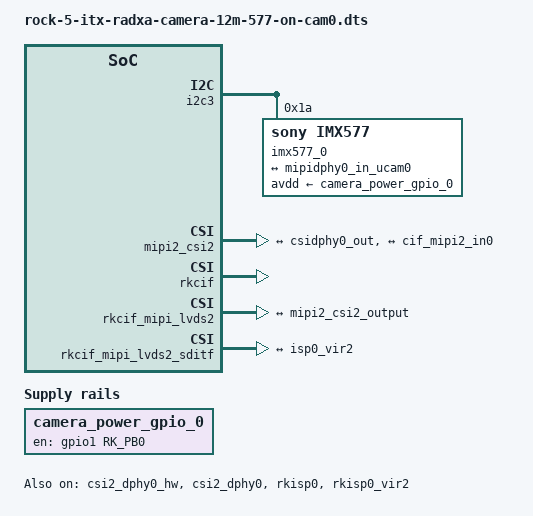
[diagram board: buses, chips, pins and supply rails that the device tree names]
/dts-v1/;
/plugin/;

#include <dt-bindings/power/rk3588-power.h>
#include <dt-bindings/gpio/gpio.h>
#include <dt-bindings/pinctrl/rockchip.h>

/ {
	metadata {
		title = "Enable Radxa Camera 12M 577 on CAM0";
		compatible = "radxa,rock-5-itx";
		category = "camera";
		exclusive = "GPIO1_B0", "csi2_dphy0", "i2c3";
		description = "Enable Radxa Camera 12M 577 on CAM0.";
	};
};

&{/} {
	camera_power_gpio_0: camera-power-gpio-0 {
		compatible = "regulator-fixed";
		regulator-name = "camera_power_gpio_0";
		startup-delay-us = <250000>;
		off-on-delay-us = <20000>;
		enable-active-high;
		gpio = <&gpio1 RK_PB0 GPIO_ACTIVE_HIGH>;
		pinctrl-names = "default";
		pinctrl-0 = <&cam_power_gpio_0>;
	};
};

&i2c3 {
	status = "okay";
	#address-cells = <1>;
	#size-cells = <0>;

	imx577_0: imx577@1a {
		status = "okay";
		compatible = "sony,imx577";
		reg = <0x1a>;
		power-domains = <&power RK3588_PD_VI>;
		avdd-supply = <&camera_power_gpio_0>;
		rockchip,camera-module-index = <0>;
		rockchip,camera-module-facing = "back";
		rockchip,camera-module-name = "RADXA-CAMERA-12M";
		rockchip,camera-module-lens-name = "default";
		port {
			imx577_out0: endpoint {
				remote-endpoint = <&mipidphy0_in_ucam0>;
				data-lanes = <1 2 3 4>;
			};
		};
	};
};

&csi2_dphy0_hw {
	status = "okay";
};

&csi2_dphy0 {
	status = "okay";

	ports {
		#address-cells = <1>;
		#size-cells = <0>;

		port@0 {
			reg = <0>;
			#address-cells = <1>;
			#size-cells = <0>;

			mipidphy0_in_ucam0: endpoint@1 {
				reg = <1>;
				remote-endpoint = <&imx577_out0>;
				data-lanes = <1 2 3 4>;
			};
		};

		port@1 {
			reg = <1>;
			#address-cells = <1>;
			#size-cells = <0>;

			csidphy0_out: endpoint@0 {
				reg = <0>;
				remote-endpoint = <&mipi2_csi2_input>;
			};
		};
	};
};

&mipi2_csi2 {
	status = "okay";

	ports {
		#address-cells = <1>;
		#size-cells = <0>;

		port@0 {
			reg = <0>;
			#address-cells = <1>;
			#size-cells = <0>;

			mipi2_csi2_input: endpoint@1 {
				reg = <1>;
				remote-endpoint = <&csidphy0_out>;
			};
		};

		port@1 {
			reg = <1>;
			#address-cells = <1>;
			#size-cells = <0>;

			mipi2_csi2_output: endpoint@0 {
				reg = <0>;
				remote-endpoint = <&cif_mipi2_in0>;
			};
		};
	};
};

&rkcif {
	status = "okay";
};

&rkcif_mipi_lvds2 {
	status = "okay";

	port {
		cif_mipi2_in0: endpoint {
			remote-endpoint = <&mipi2_csi2_output>;
		};
	};
};

&rkcif_mipi_lvds2_sditf {
	status = "okay";

	port {
		mipi_lvds2_sditf: endpoint {
			remote-endpoint = <&isp0_vir2>;
		};
	};
};

&rkcif_mmu {
	status = "okay";
};

&isp0_mmu {
	status = "okay";
};

&rkisp0 {
	status = "okay";
};

&rkisp0_vir2 {
	status = "okay";

	port {
		#address-cells = <1>;
		#size-cells = <0>;

		isp0_vir2: endpoint@0 {
			reg = <0>;
			remote-endpoint = <&mipi_lvds2_sditf>;
		};
	};
};

&pinctrl {
	camera {
		cam_power_gpio_0: cam-power-gpio-0 {
			rockchip,pins = <1 RK_PB0 RK_FUNC_GPIO &pcfg_pull_up>;
		};
	};
};
